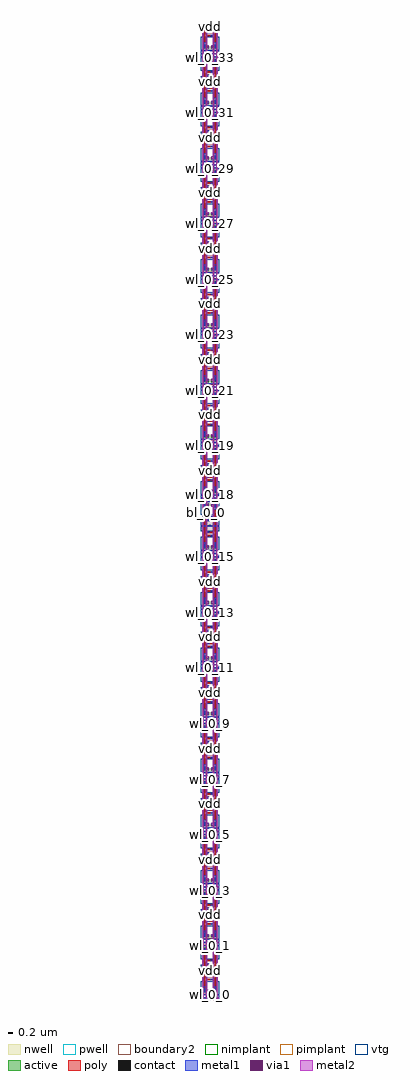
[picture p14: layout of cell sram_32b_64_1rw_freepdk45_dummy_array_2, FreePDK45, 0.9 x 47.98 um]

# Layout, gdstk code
import gdstk
lib = gdstk.Library(unit=1e-6, precision=5e-10)
def R(c, l, rs):  # rectangles x0, y0, x1, y1
    for r in rs: c.add(gdstk.rectangle(r[:2], r[2:], *l))
def A(c, l, x, y, w, h, nx, ny, dx, dy):  # array of equal rectangles
    R(c, l, [(x+i*dx, y+j*dy, x+i*dx+w, y+j*dy+h) for i in range(nx) for j in range(ny)])
active = (1, 0)
pwell = (2, 0)
nwell = (3, 0)
nimplant = (4, 0)
pimplant = (5, 0)
vtg = (6, 0)
poly = (9, 0)
contact = (10, 0)
metal1 = (11, 0)
via1 = (12, 0)
metal2 = (13, 0)
boundary2 = (239, 0)

dummy_cell_1rw = lib.new_cell('dummy_cell_1rw')
R(dummy_cell_1rw, active, [(0.3025,-0.045,0.3925,0.045), (0.3025,-0.045,0.3925,0.045), (0.045,0.2475,0.305,0.3825), (0.045,0.2475,0.12,0.3825), (0.045,0.2475,0.12,0.3825), (0.23,0.2475,0.305,0.3825), (0.23,0.2475,0.305,0.3825), (0.4,0.2475,0.66,0.3825), (0.4,0.2475,0.475,0.3825), (0.4,0.2475,0.475,0.3825), (0.585,0.2475,0.66,0.3825), (0.585,0.2475,0.66,0.3825), (0.045,0.3075,0.12,0.3825), (0.23,0.3075,0.305,0.3825), (0.4,0.3075,0.475,0.3825), (0.585,0.3075,0.66,0.3825), (-0.04,0.5675,0.04,0.7725), (-0.035,0.5675,0.225,0.7725), (-0.035,0.5675,0.04,0.7725), (0.15,0.5675,0.225,0.7725), (0.15,0.5675,0.225,0.7725), (0.48,0.5675,0.74,0.7725), (0.48,0.5675,0.555,0.7725), (0.48,0.5675,0.555,0.7725), (0.665,0.5675,0.74,0.7725), (0.665,0.5675,0.745,0.7725), (-0.035,0.6975,0.04,0.7725), (0.15,0.6975,0.225,0.7725), (0.48,0.6975,0.555,0.7725), (0.665,0.6975,0.74,0.7725), (-0.04,1.1625,0.04,1.2525), (-0.035,1.1625,0.04,1.2375), (-0.035,1.1625,0.225,1.2525), (-0.035,1.1625,0.04,1.2525), (0.15,1.1625,0.225,1.2375), (0.15,1.1625,0.225,1.2525), (0.15,1.1625,0.225,1.2525), (0.48,1.1625,0.555,1.2375), (0.48,1.1625,0.74,1.2525), (0.48,1.1625,0.555,1.2525), (0.48,1.1625,0.555,1.2525), (0.665,1.1625,0.74,1.2375), (0.665,1.1625,0.74,1.2525), (0.665,1.1625,0.745,1.2525), (0.3025,1.32,0.3925,1.41), (0.3025,1.32,0.3925,1.41)])
R(dummy_cell_1rw, pwell, [(-0.095,-0.1,0.8,0.8275), (0.2475,-0.1,0.4475,0.1), (0.2475,-0.08,0.4475,0.12), (-0.01,0.1925,0.36,0.4375), (0.345,0.1925,0.715,0.4375), (-0.09,0.5125,0.28,0.8275), (0.425,0.5125,0.795,0.8275)])
R(dummy_cell_1rw, nwell, [(-0.095,1.1075,0.8,1.465), (-0.09,1.1075,0.28,1.3075), (0.425,1.1075,0.795,1.3075), (0.2475,1.265,0.4475,1.465), (0.2475,1.265,0.4475,1.465)])
R(dummy_cell_1rw, nimplant, [(0.045,0.2475,0.305,0.3825), (0.4,0.2475,0.66,0.3825), (-0.035,0.5675,0.225,0.7725), (0.48,0.5675,0.74,0.7725), (0.3025,1.32,0.3925,1.41), (0.3025,1.32,0.3925,1.41)])
R(dummy_cell_1rw, pimplant, [(0.3025,-0.045,0.3925,0.045), (-0.035,1.1625,0.225,1.2525), (0.48,1.1625,0.74,1.2525)])
R(dummy_cell_1rw, vtg, [(-0.09,-0.1,0.795,0.8275), (-0.01,0.1925,0.36,0.4375), (0.345,0.1925,0.715,0.4375), (-0.09,0.5125,0.28,0.8275), (0.425,0.5125,0.795,0.8275), (-0.09,1.1075,0.28,1.3075), (-0.09,1.1075,0.795,1.465), (0.425,1.1075,0.795,1.3075)])
R(dummy_cell_1rw, poly, [(0.07,0.1225,0.635,0.1975), (0.2975,0.1225,0.3725,0.1975), (0.15,0.1925,0.2,0.2475), (0.15,0.1925,0.2,0.4375), (0.505,0.1925,0.555,0.2475), (0.505,0.1925,0.555,0.4375), (0.15,0.3825,0.2,0.4375), (0.505,0.3825,0.555,0.4375), (0.07,0.5125,0.12,0.5675), (0.07,0.5125,0.12,0.8275), (0.585,0.5125,0.635,0.5675), (0.585,0.5125,0.635,0.8275), (0.07,0.7725,0.12,0.8275), (0.585,0.7725,0.635,0.8275), (0.07,0.8275,0.12,1.1075), (0.07,0.8275,0.12,1.1075), (0.585,0.8275,0.635,1.1075), (0.585,0.8275,0.635,1.1075), (0.07,0.8625,0.5025,0.9375), (0.4275,0.8625,0.5025,0.9375), (0.4275,0.8625,0.5025,0.9375), (0.2025,1.0125,0.2775,1.0875), (0.2025,1.0125,0.2775,1.0875), (0.2025,1.0125,0.635,1.0875), (0.07,1.1075,0.12,1.1625), (0.07,1.1075,0.12,1.3075), (0.585,1.1075,0.635,1.1625), (0.585,1.1075,0.635,1.3075), (0.07,1.2525,0.12,1.3075), (0.585,1.2525,0.635,1.3075)])
R(dummy_cell_1rw, contact, [(0.315,-0.0325,0.38,0.0325), (0.3025,0.1275,0.3675,0.1925), (0.05,0.3125,0.115,0.3775), (0.235,0.3125,0.3,0.3775), (0.405,0.3125,0.47,0.3775), (0.59,0.3125,0.655,0.3775), (-0.0325,0.7025,0.0325,0.7675), (0.155,0.7025,0.22,0.7675), (0.485,0.7025,0.55,0.7675), (0.6725,0.7025,0.7375,0.7675), (0.4325,0.8675,0.4975,0.9325), (0.4325,0.8675,0.4975,0.9325), (0.2075,1.0175,0.2725,1.0825), (0.2075,1.0175,0.2725,1.0825), (-0.0325,1.1675,0.0325,1.2325), (0.155,1.1675,0.22,1.2325), (0.485,1.1675,0.55,1.2325), (0.6725,1.1675,0.7375,1.2325), (0.315,1.3325,0.38,1.3975)])
R(dummy_cell_1rw, metal1, [(-0.09,-0.0325,0.795,0.0325), (-0.09,-0.0325,0.795,0.0325), (0.285,-0.0325,0.42,0.0325), (0.285,-0.0325,0.42,0.0325), (0.6375,-0.0325,0.7725,0.0325), (0.6375,-0.0325,0.7725,0.0325), (0.6375,-0.0325,0.7725,0.0325), (0.6375,-0.0325,0.7725,0.0325), (-0.09,0.1275,0.795,0.1925), (-0.09,0.1275,0.795,0.1925), (0.2675,0.1275,0.4025,0.1925), (-0.085,0.13,-0.0325,0.1925), (0.62,0.13,0.6725,0.1925), (0.05,0.2775,0.115,0.4125), (0.05,0.2775,0.12,0.5675), (0.2225,0.2775,0.2875,0.4125), (0.235,0.2775,0.3,0.4125), (0.405,0.2775,0.47,0.4125), (0.4175,0.2775,0.4825,0.4125), (0.59,0.2775,0.655,0.4125), (0.59,0.2775,0.66,0.5675), (0.05,0.5025,0.22,0.5675), (0.155,0.5025,0.22,1.2425), (0.485,0.5025,0.66,0.5675), (0.485,0.5025,0.55,1.1325), (-0.035,0.6675,0.035,0.8025), (-0.035,0.6675,0.035,0.8025), (-0.03,0.6675,0.035,0.8025), (0.155,0.6675,0.22,0.8025), (0.485,0.6675,0.55,0.8025), (0.67,0.6675,0.735,0.8025), (0.67,0.6675,0.74,0.8025), (0.67,0.6675,0.74,0.8025), (0.67,0.6675,0.74,0.8025), (0.67,0.6675,0.74,0.8025), (0.67,0.6675,0.74,0.8025), (0.67,0.6675,0.74,0.8025), (-0.0325,0.77,0.0325,0.905), (-0.0325,0.77,0.0325,0.905), (-0.0325,0.77,0.0325,0.905), (-0.0325,0.77,0.0325,0.905), (-0.0325,0.77,0.0325,0.905), (-0.0325,0.77,0.0325,0.905), (0.6725,0.77,0.7375,0.905), (0.6725,0.77,0.7375,0.905), (0.6725,0.77,0.7375,0.905), (0.6725,0.77,0.7375,0.905), (0.6725,0.77,0.7375,0.905), (0.6725,0.77,0.7375,0.905), (0.6725,0.77,0.7375,0.905), (0.6725,0.77,0.7375,0.905), (0.6725,0.77,0.7375,0.905), (0.6725,0.77,0.7375,0.905), (0.6725,0.77,0.7375,0.905), (0.6725,0.77,0.7375,0.905), (0.6725,0.77,0.7375,0.905), (0.6725,0.77,0.7375,0.905), (0.6725,0.77,0.7375,0.905), (0.6725,0.77,0.7375,0.905), (0.6725,0.77,0.7375,0.905), (0.6725,0.77,0.7375,0.905), (0.6725,0.77,0.7375,0.905), (0.6725,0.77,0.7375,0.905), (0.6725,0.77,0.7375,0.905), (0.6725,0.77,0.7375,0.905), (0.6725,0.77,0.7375,0.905), (0.6725,0.77,0.7375,0.905), (0.3975,0.8675,0.5325,0.9325), (0.3975,0.8675,0.5325,0.9325), (0.1725,1.0175,0.3075,1.0825), (0.1725,1.0175,0.3075,1.0825), (-0.035,1.1325,0.035,1.3325), (-0.03,1.1325,0.035,1.2675), (0.155,1.1325,0.22,1.2675), (0.485,1.1325,0.55,1.2675), (0.67,1.1325,0.735,1.2675), (0.67,1.1325,0.74,1.3325), (0.67,1.1325,0.74,1.3325), (-0.09,1.3325,0.795,1.3975), (-0.09,1.3325,0.795,1.3975)])
R(dummy_cell_1rw, via1, [(-0.0325,-0.0325,0.0325,0.0325), (-0.0325,-0.0325,0.0325,0.0325), (0.6725,-0.0325,0.7375,0.0325), (0.6725,-0.0325,0.7375,0.0325), (0.6725,-0.0325,0.7375,0.0325), (0.6725,-0.0325,0.7375,0.0325), (-0.0325,0.805,0.0325,0.87), (-0.0325,0.805,0.0325,0.87), (-0.0325,0.805,0.0325,0.87), (-0.0325,0.805,0.0325,0.87), (-0.0325,0.805,0.0325,0.87), (-0.0325,0.805,0.0325,0.87), (0.6725,0.805,0.7375,0.87), (0.6725,0.805,0.7375,0.87), (0.6725,0.805,0.7375,0.87), (0.6725,0.805,0.7375,0.87), (0.6725,0.805,0.7375,0.87), (0.6725,0.805,0.7375,0.87), (0.6725,0.805,0.7375,0.87), (0.6725,0.805,0.7375,0.87), (0.6725,0.805,0.7375,0.87), (0.6725,0.805,0.7375,0.87), (0.6725,0.805,0.7375,0.87), (0.6725,0.805,0.7375,0.87), (0.6725,0.805,0.7375,0.87), (0.6725,0.805,0.7375,0.87), (0.6725,0.805,0.7375,0.87), (0.6725,0.805,0.7375,0.87), (0.6725,0.805,0.7375,0.87), (0.6725,0.805,0.7375,0.87), (0.6725,0.805,0.7375,0.87), (0.6725,0.805,0.7375,0.87), (0.6725,0.805,0.7375,0.87), (0.6725,0.805,0.7375,0.87), (0.6725,0.805,0.7375,0.87), (0.6725,0.805,0.7375,0.87)])
R(dummy_cell_1rw, metal2, [(-0.035,-0.08,0.035,1.465), (0.15,-0.08,0.22,1.465), (0.15,-0.08,0.22,1.465), (0.485,-0.08,0.555,1.465), (0.485,-0.08,0.555,1.465), (0.67,-0.08,0.74,1.465), (0.6375,-0.035,0.7725,0.035), (0.6375,-0.035,0.7725,0.035), (0.6375,-0.035,0.7725,0.035), (0.6375,-0.035,0.7725,0.035), (0.4925,-0.0325,0.55,0.0275), (-0.03,-0.03,0.03,0.0275), (0.1575,-0.025,0.2125,0.0275), (0.675,-0.025,0.735,0.0325), (0.67,-0.0125,0.74,1.3975), (0.22,0.2775,0.29,0.4125), (0.415,0.2775,0.485,0.4125), (-0.035,0.77,0.035,0.905), (-0.035,0.77,0.035,0.905), (-0.035,0.77,0.035,0.905), (-0.035,0.77,0.035,0.905), (-0.035,0.77,0.035,0.905), (-0.035,0.77,0.035,0.905), (0.67,0.77,0.74,0.905), (0.67,0.77,0.74,0.905), (0.67,0.77,0.74,0.905), (0.67,0.77,0.74,0.905), (0.67,0.77,0.74,0.905), (0.67,0.77,0.74,0.905), (0.67,0.77,0.74,0.905), (0.67,0.77,0.74,0.905), (0.67,0.77,0.74,0.905), (0.67,0.77,0.74,0.905), (0.67,0.77,0.74,0.905), (0.67,0.77,0.74,0.905), (0.67,0.77,0.74,0.905), (0.67,0.77,0.74,0.905), (0.67,0.77,0.74,0.905), (0.67,0.77,0.74,0.905), (0.67,0.77,0.74,0.905), (0.67,0.77,0.74,0.905), (0.67,0.77,0.74,0.905), (0.67,0.77,0.74,0.905), (0.67,0.77,0.74,0.905), (0.67,0.77,0.74,0.905), (0.67,0.77,0.74,0.905), (0.67,0.77,0.74,0.905)])
R(dummy_cell_1rw, boundary2, [(0,0.02,0.705,1.365)])
dummy_cell_1rw.add(gdstk.Label('gnd', (0.345,0), layer=11, texttype=0))
dummy_cell_1rw.add(gdstk.Label('vdd', (0.345,1.365), layer=11, texttype=0))
dummy_cell_1rw.add(gdstk.Label('wl', (-0.05,0.167), layer=11, texttype=0))
dummy_cell_1rw.add(gdstk.Label('br', (0.52,0.003), layer=13, texttype=0))
dummy_cell_1rw.add(gdstk.Label('bl', (0.19,0.003), layer=13, texttype=0))
dummy_cell_1rw.add(gdstk.Label('bl', (0.185,0.6925), layer=13, texttype=0))
dummy_cell_1rw.add(gdstk.Label('br', (0.52,0.6925), layer=13, texttype=0))
dummy_cell_1rw.add(gdstk.Label('wl', (0.3525,0.16), layer=11, texttype=0))
dummy_cell_1rw.add(gdstk.Label('vdd', (0.3525,1.365), layer=11, texttype=0))
dummy_cell_1rw.add(gdstk.Label('gnd', (0.3525,0), layer=11, texttype=0))

sram_32b_64_1rw_freepdk4 = lib.new_cell('sram_32b_64_1rw_freepdk45_dummy_array_2')
A(sram_32b_64_1rw_freepdk4, metal1, -0.09, -0.0325, 0.885, 0.065, 1, 36, 0, 1.365)
R(sram_32b_64_1rw_freepdk4, metal1, [(0,0.1275,0.705,0.1925), (0,2.5375,0.705,2.6025), (0,2.8575,0.705,2.9225), (0,5.2675,0.705,5.3325), (0,5.5875,0.705,5.6525), (0,7.9975,0.705,8.0625), (0,8.3175,0.705,8.3825), (0,10.7275,0.705,10.7925), (0,11.0475,0.705,11.1125), (0,13.4575,0.705,13.5225), (0,13.7775,0.705,13.8425), (0,16.1875,0.705,16.2525), (0,16.5075,0.705,16.5725), (0,18.9175,0.705,18.9825), (0,19.2375,0.705,19.3025), (0,21.6475,0.705,21.7125), (0,21.9675,0.705,22.0325), (0,24.3775,0.705,24.4425), (0,24.6975,0.705,24.7625), (0,27.1075,0.705,27.1725), (0,27.4275,0.705,27.4925), (0,29.8375,0.705,29.9025), (0,30.1575,0.705,30.2225), (0,32.5675,0.705,32.6325), (0,32.8875,0.705,32.9525), (0,35.2975,0.705,35.3625), (0,35.6175,0.705,35.6825), (0,38.0275,0.705,38.0925), (0,38.3475,0.705,38.4125), (0,40.7575,0.705,40.8225), (0,41.0775,0.705,41.1425), (0,43.4875,0.705,43.5525), (0,43.8075,0.705,43.8725), (0,46.2175,0.705,46.2825), (0,46.5375,0.705,46.6025)])
R(sram_32b_64_1rw_freepdk4, metal2, [(0.15,0,0.22,47.775), (0.485,0,0.555,47.775)])
R(sram_32b_64_1rw_freepdk4, boundary2, [(0,0,0.705,47.775)])
sram_32b_64_1rw_freepdk4.add(gdstk.Reference(dummy_cell_1rw, (0,0)))
sram_32b_64_1rw_freepdk4.add(gdstk.Reference(dummy_cell_1rw, (0,2.73), x_reflection=True))
sram_32b_64_1rw_freepdk4.add(gdstk.Reference(dummy_cell_1rw, (0,2.73)))
sram_32b_64_1rw_freepdk4.add(gdstk.Reference(dummy_cell_1rw, (0,5.46), x_reflection=True))
sram_32b_64_1rw_freepdk4.add(gdstk.Reference(dummy_cell_1rw, (0,5.46)))
sram_32b_64_1rw_freepdk4.add(gdstk.Reference(dummy_cell_1rw, (0,8.19), x_reflection=True))
sram_32b_64_1rw_freepdk4.add(gdstk.Reference(dummy_cell_1rw, (0,8.19)))
sram_32b_64_1rw_freepdk4.add(gdstk.Reference(dummy_cell_1rw, (0,10.92), x_reflection=True))
sram_32b_64_1rw_freepdk4.add(gdstk.Reference(dummy_cell_1rw, (0,10.92)))
sram_32b_64_1rw_freepdk4.add(gdstk.Reference(dummy_cell_1rw, (0,13.65), x_reflection=True))
sram_32b_64_1rw_freepdk4.add(gdstk.Reference(dummy_cell_1rw, (0,13.65)))
sram_32b_64_1rw_freepdk4.add(gdstk.Reference(dummy_cell_1rw, (0,16.38), x_reflection=True))
sram_32b_64_1rw_freepdk4.add(gdstk.Reference(dummy_cell_1rw, (0,16.38)))
sram_32b_64_1rw_freepdk4.add(gdstk.Reference(dummy_cell_1rw, (0,19.11), x_reflection=True))
sram_32b_64_1rw_freepdk4.add(gdstk.Reference(dummy_cell_1rw, (0,19.11)))
sram_32b_64_1rw_freepdk4.add(gdstk.Reference(dummy_cell_1rw, (0,21.84), x_reflection=True))
sram_32b_64_1rw_freepdk4.add(gdstk.Reference(dummy_cell_1rw, (0,21.84)))
sram_32b_64_1rw_freepdk4.add(gdstk.Reference(dummy_cell_1rw, (0,24.57), x_reflection=True))
sram_32b_64_1rw_freepdk4.add(gdstk.Reference(dummy_cell_1rw, (0,24.57)))
sram_32b_64_1rw_freepdk4.add(gdstk.Reference(dummy_cell_1rw, (0,27.3), x_reflection=True))
sram_32b_64_1rw_freepdk4.add(gdstk.Reference(dummy_cell_1rw, (0,27.3)))
sram_32b_64_1rw_freepdk4.add(gdstk.Reference(dummy_cell_1rw, (0,30.03), x_reflection=True))
sram_32b_64_1rw_freepdk4.add(gdstk.Reference(dummy_cell_1rw, (0,30.03)))
sram_32b_64_1rw_freepdk4.add(gdstk.Reference(dummy_cell_1rw, (0,32.76), x_reflection=True))
sram_32b_64_1rw_freepdk4.add(gdstk.Reference(dummy_cell_1rw, (0,32.76)))
sram_32b_64_1rw_freepdk4.add(gdstk.Reference(dummy_cell_1rw, (0,35.49), x_reflection=True))
sram_32b_64_1rw_freepdk4.add(gdstk.Reference(dummy_cell_1rw, (0,35.49)))
sram_32b_64_1rw_freepdk4.add(gdstk.Reference(dummy_cell_1rw, (0,38.22), x_reflection=True))
sram_32b_64_1rw_freepdk4.add(gdstk.Reference(dummy_cell_1rw, (0,38.22)))
sram_32b_64_1rw_freepdk4.add(gdstk.Reference(dummy_cell_1rw, (0,40.95), x_reflection=True))
sram_32b_64_1rw_freepdk4.add(gdstk.Reference(dummy_cell_1rw, (0,40.95)))
sram_32b_64_1rw_freepdk4.add(gdstk.Reference(dummy_cell_1rw, (0,43.68), x_reflection=True))
sram_32b_64_1rw_freepdk4.add(gdstk.Reference(dummy_cell_1rw, (0,43.68)))
sram_32b_64_1rw_freepdk4.add(gdstk.Reference(dummy_cell_1rw, (0,46.41), x_reflection=True))
sram_32b_64_1rw_freepdk4.add(gdstk.Reference(dummy_cell_1rw, (0,46.41)))
sram_32b_64_1rw_freepdk4.add(gdstk.Label('bl_0_0', (0.185,23.8875), layer=13, texttype=0))
sram_32b_64_1rw_freepdk4.add(gdstk.Label('br_0_0', (0.52,23.8875), layer=13, texttype=0))
sram_32b_64_1rw_freepdk4.add(gdstk.Label('wl_0_0', (0.3525,0.16), layer=11, texttype=0))
sram_32b_64_1rw_freepdk4.add(gdstk.Label('wl_0_1', (0.3525,2.57), layer=11, texttype=0))
sram_32b_64_1rw_freepdk4.add(gdstk.Label('wl_0_2', (0.3525,2.89), layer=11, texttype=0))
sram_32b_64_1rw_freepdk4.add(gdstk.Label('wl_0_3', (0.3525,5.3), layer=11, texttype=0))
sram_32b_64_1rw_freepdk4.add(gdstk.Label('wl_0_4', (0.3525,5.62), layer=11, texttype=0))
sram_32b_64_1rw_freepdk4.add(gdstk.Label('wl_0_5', (0.3525,8.03), layer=11, texttype=0))
sram_32b_64_1rw_freepdk4.add(gdstk.Label('wl_0_6', (0.3525,8.35), layer=11, texttype=0))
sram_32b_64_1rw_freepdk4.add(gdstk.Label('wl_0_7', (0.3525,10.76), layer=11, texttype=0))
sram_32b_64_1rw_freepdk4.add(gdstk.Label('wl_0_8', (0.3525,11.08), layer=11, texttype=0))
sram_32b_64_1rw_freepdk4.add(gdstk.Label('wl_0_9', (0.3525,13.49), layer=11, texttype=0))
sram_32b_64_1rw_freepdk4.add(gdstk.Label('wl_0_10', (0.3525,13.81), layer=11, texttype=0))
sram_32b_64_1rw_freepdk4.add(gdstk.Label('wl_0_11', (0.3525,16.22), layer=11, texttype=0))
sram_32b_64_1rw_freepdk4.add(gdstk.Label('wl_0_12', (0.3525,16.54), layer=11, texttype=0))
sram_32b_64_1rw_freepdk4.add(gdstk.Label('wl_0_13', (0.3525,18.95), layer=11, texttype=0))
sram_32b_64_1rw_freepdk4.add(gdstk.Label('wl_0_14', (0.3525,19.27), layer=11, texttype=0))
sram_32b_64_1rw_freepdk4.add(gdstk.Label('wl_0_15', (0.3525,21.68), layer=11, texttype=0))
sram_32b_64_1rw_freepdk4.add(gdstk.Label('wl_0_16', (0.3525,22), layer=11, texttype=0))
sram_32b_64_1rw_freepdk4.add(gdstk.Label('wl_0_17', (0.3525,24.41), layer=11, texttype=0))
sram_32b_64_1rw_freepdk4.add(gdstk.Label('wl_0_18', (0.3525,24.73), layer=11, texttype=0))
sram_32b_64_1rw_freepdk4.add(gdstk.Label('wl_0_19', (0.3525,27.14), layer=11, texttype=0))
sram_32b_64_1rw_freepdk4.add(gdstk.Label('wl_0_20', (0.3525,27.46), layer=11, texttype=0))
sram_32b_64_1rw_freepdk4.add(gdstk.Label('wl_0_21', (0.3525,29.87), layer=11, texttype=0))
sram_32b_64_1rw_freepdk4.add(gdstk.Label('wl_0_22', (0.3525,30.19), layer=11, texttype=0))
sram_32b_64_1rw_freepdk4.add(gdstk.Label('wl_0_23', (0.3525,32.6), layer=11, texttype=0))
sram_32b_64_1rw_freepdk4.add(gdstk.Label('wl_0_24', (0.3525,32.92), layer=11, texttype=0))
sram_32b_64_1rw_freepdk4.add(gdstk.Label('wl_0_25', (0.3525,35.33), layer=11, texttype=0))
sram_32b_64_1rw_freepdk4.add(gdstk.Label('wl_0_26', (0.3525,35.65), layer=11, texttype=0))
sram_32b_64_1rw_freepdk4.add(gdstk.Label('wl_0_27', (0.3525,38.06), layer=11, texttype=0))
sram_32b_64_1rw_freepdk4.add(gdstk.Label('wl_0_28', (0.3525,38.38), layer=11, texttype=0))
sram_32b_64_1rw_freepdk4.add(gdstk.Label('wl_0_29', (0.3525,40.79), layer=11, texttype=0))
sram_32b_64_1rw_freepdk4.add(gdstk.Label('wl_0_30', (0.3525,41.11), layer=11, texttype=0))
sram_32b_64_1rw_freepdk4.add(gdstk.Label('wl_0_31', (0.3525,43.52), layer=11, texttype=0))
sram_32b_64_1rw_freepdk4.add(gdstk.Label('wl_0_32', (0.3525,43.84), layer=11, texttype=0))
sram_32b_64_1rw_freepdk4.add(gdstk.Label('wl_0_33', (0.3525,46.25), layer=11, texttype=0))
sram_32b_64_1rw_freepdk4.add(gdstk.Label('wl_0_34', (0.3525,46.57), layer=11, texttype=0))
sram_32b_64_1rw_freepdk4.add(gdstk.Label('vdd', (0.3525,17.745), layer=11, texttype=0))
sram_32b_64_1rw_freepdk4.add(gdstk.Label('vdd', (0.3525,4.095), layer=11, texttype=0))
sram_32b_64_1rw_freepdk4.add(gdstk.Label('vdd', (0.3525,28.665), layer=11, texttype=0))
sram_32b_64_1rw_freepdk4.add(gdstk.Label('vdd', (0.3525,15.015), layer=11, texttype=0))
sram_32b_64_1rw_freepdk4.add(gdstk.Label('vdd', (0.3525,12.285), layer=11, texttype=0))
sram_32b_64_1rw_freepdk4.add(gdstk.Label('vdd', (0.3525,9.555), layer=11, texttype=0))
sram_32b_64_1rw_freepdk4.add(gdstk.Label('vdd', (0.3525,34.125), layer=11, texttype=0))
sram_32b_64_1rw_freepdk4.add(gdstk.Label('vdd', (0.3525,36.855), layer=11, texttype=0))
sram_32b_64_1rw_freepdk4.add(gdstk.Label('vdd', (0.3525,39.585), layer=11, texttype=0))
sram_32b_64_1rw_freepdk4.add(gdstk.Label('vdd', (0.3525,42.315), layer=11, texttype=0))
sram_32b_64_1rw_freepdk4.add(gdstk.Label('vdd', (0.3525,45.045), layer=11, texttype=0))
sram_32b_64_1rw_freepdk4.add(gdstk.Label('vdd', (0.3525,23.205), layer=11, texttype=0))
sram_32b_64_1rw_freepdk4.add(gdstk.Label('vdd', (0.3525,47.775), layer=11, texttype=0))
sram_32b_64_1rw_freepdk4.add(gdstk.Label('vdd', (0.3525,1.365), layer=11, texttype=0))
sram_32b_64_1rw_freepdk4.add(gdstk.Label('vdd', (0.3525,6.825), layer=11, texttype=0))
sram_32b_64_1rw_freepdk4.add(gdstk.Label('vdd', (0.3525,20.475), layer=11, texttype=0))
sram_32b_64_1rw_freepdk4.add(gdstk.Label('vdd', (0.3525,31.395), layer=11, texttype=0))
sram_32b_64_1rw_freepdk4.add(gdstk.Label('vdd', (0.3525,25.935), layer=11, texttype=0))
sram_32b_64_1rw_freepdk4.add(gdstk.Label('gnd', (0.3525,5.46), layer=11, texttype=0))
sram_32b_64_1rw_freepdk4.add(gdstk.Label('gnd', (0.3525,10.92), layer=11, texttype=0))
sram_32b_64_1rw_freepdk4.add(gdstk.Label('gnd', (0.3525,19.11), layer=11, texttype=0))
sram_32b_64_1rw_freepdk4.add(gdstk.Label('gnd', (0.3525,30.03), layer=11, texttype=0))
sram_32b_64_1rw_freepdk4.add(gdstk.Label('gnd', (0.3525,32.76), layer=11, texttype=0))
sram_32b_64_1rw_freepdk4.add(gdstk.Label('gnd', (0.3525,24.57), layer=11, texttype=0))
sram_32b_64_1rw_freepdk4.add(gdstk.Label('gnd', (0.3525,38.22), layer=11, texttype=0))
sram_32b_64_1rw_freepdk4.add(gdstk.Label('gnd', (0.3525,43.68), layer=11, texttype=0))
sram_32b_64_1rw_freepdk4.add(gdstk.Label('gnd', (0.3525,13.65), layer=11, texttype=0))
sram_32b_64_1rw_freepdk4.add(gdstk.Label('gnd', (0.3525,0), layer=11, texttype=0))
sram_32b_64_1rw_freepdk4.add(gdstk.Label('gnd', (0.3525,27.3), layer=11, texttype=0))
sram_32b_64_1rw_freepdk4.add(gdstk.Label('gnd', (0.3525,8.19), layer=11, texttype=0))
sram_32b_64_1rw_freepdk4.add(gdstk.Label('gnd', (0.3525,16.38), layer=11, texttype=0))
sram_32b_64_1rw_freepdk4.add(gdstk.Label('gnd', (0.3525,35.49), layer=11, texttype=0))
sram_32b_64_1rw_freepdk4.add(gdstk.Label('gnd', (0.3525,46.41), layer=11, texttype=0))
sram_32b_64_1rw_freepdk4.add(gdstk.Label('gnd', (0.3525,2.73), layer=11, texttype=0))
sram_32b_64_1rw_freepdk4.add(gdstk.Label('gnd', (0.3525,40.95), layer=11, texttype=0))
sram_32b_64_1rw_freepdk4.add(gdstk.Label('gnd', (0.3525,21.84), layer=11, texttype=0))

lib.write_gds('sram_32b_64_1rw_freepdk45_dummy_array_2.gds')
